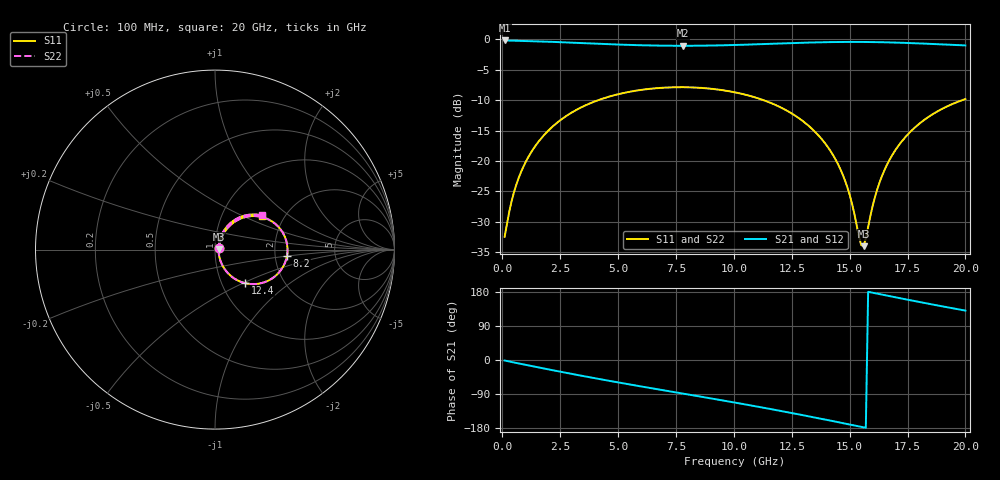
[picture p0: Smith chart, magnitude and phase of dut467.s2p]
! Touchstone file exported from HFSS 2026.1.0
!  File:  C:/ffzhzh/LocalFiles/Ansys_Project_Files/temp_train_TSV_RDL_467_1783102312_46604.aedt
!  Generated:  02:24:40 AM Jul  4, 2026
!  Design:  TSV_RDL
!  Project:  temp_train_TSV_RDL_467_1783102312_46604
! Variables:
!  h_bsmrdl = 2.26um
!  h_ox = 20um
!  h_rdl = 5um
!  h_sub = 97.77um
!  h_tmrdl = 4.17um
!  h_tsv = 97.77um
!  h_via = 3um
!  l_bsmrdl = 619.4um
!  l_sub = 3579.43um
!  l_tmrdl = 300.75um
!  m_sub = 200um
!  pitch = 37.09um
!  r_tsv = 8.5um
!  s_tmrdl = 10um
!  w_bsmrdl = 19.68um
!  w_sub = 500um
!  w_tmrdl = 19.73um
!  x_tsv_center1 = 310.615um
!  x_tsv_center2 = 949.695um
!  x_tsv_center3 = 1270.175um
!  x_tsv_center4 = 1909.255um
!  x_tsv_center5 = 2229.735um
!  x_tsv_center6 = 2868.815um
# GHz S MA R 50.000000
! Terminal data exported
! Port[1] = TM_RDL1_1_T1
! Port[2] = TM_RDL5_1_T1
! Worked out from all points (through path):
!   200 points, 100 MHz to 20 GHz, reference 50 ohm
!   highest |S21| = -0.19 dB at 100 MHz (marker M1); lowest = -1.1 dB at 7.8 GHz (marker M2)
!   group delay of S21, straight-line fit = 31.4 ps
!   lowest |S11| = -34.0 dB at 15.6 GHz (marker M3), VSWR 1.04, Z = 52 + j0.351 ohm
!   |S11| at or under -10 dB: start of sweep to 4.147 GHz; 11.28 GHz to 19.87 GHz (8.591 GHz wide, 55.2 % of centre)
!   |S22| runs from -34.1 to -7.9 dB; largest |S21 - S12| = 2.6e-14
!   S11 on the Smith chart (normalised r, x): 100 MHz: 1.04, +0.02; 8.2 GHz: 2.32, -0.21; 12.4 GHz: 1.29, -0.52; 20 GHz: 1.54, +0.65
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0.1  0.02379 24.9  0.9786 -1.3  0.9786 -1.3  0.02379 24.9
! Gamma 0 0 0 0
! Port Impedance 50 0 50 0
0.4  0.04654 54.2  0.9755 -5.2  0.9755 -5.2  0.04654 54.2
0.6  0.06343 59.0  0.973 -7.7  0.973 -7.7  0.06343 59.0
1.2  0.1139 61.1  0.9661 -15.1  0.9661 -15.1  0.1139 61.1
2.2  0.1938 54.3  0.9523 -27.3  0.9523 -27.3  0.1938 54.3
3.5  0.2812 41.7  0.9301 -42.5  0.9301 -42.5  0.2812 41.7
5.1  0.3571 25.5  0.9042 -60.2  0.9042 -60.2  0.3571 25.5
6.8  0.3983 8.5  0.8873 -78.2  0.8873 -78.2  0.3983 8.5
7.8  0.4039 -1.4  0.8846 -88.6  0.8846 -88.6  0.4039 -1.4
8.2  0.4023 -5.3  0.8851 -92.8  0.8851 -92.8  0.4023 -5.3
10.1  0.3648 -24.3  0.8985 -112.9  0.8985 -112.9  0.3648 -24.4
12.4  0.2521 -47.9  0.9296 -138.8  0.9296 -138.8  0.2521 -48.0
13.4  0.1818 -57.7  0.942 -150.6  0.942 -150.6  0.1818 -57.7
14.1  0.1268 -63.2  0.9482 -159.1  0.9482 -159.1  0.1268 -63.3
14.6  0.08565 -64.9  0.9509 -165.2  0.9509 -165.2  0.08562 -64.9
15  0.05274 -61.1  0.9519 -170.2  0.9519 -170.2  0.0527 -61.2
15.5  0.02034 -14.1  0.9515 -176.4  0.9515 -176.4  0.02022 -14.2
15.6  0.01992 9.7  0.9512 -177.6  0.9512 -177.6  0.01979 9.8
16.2  0.05899 63.3  0.948 175.0  0.948 175.0  0.05893 63.4
16.7  0.1002 65.5  0.9435 168.9  0.9435 168.9  0.1001 65.5
18  0.2017 56.0  0.9255 153.2  0.9255 153.2  0.2016 56.0
20  0.3227 36.1  0.8908 130.4  0.8908 130.4  0.3226 36.1
